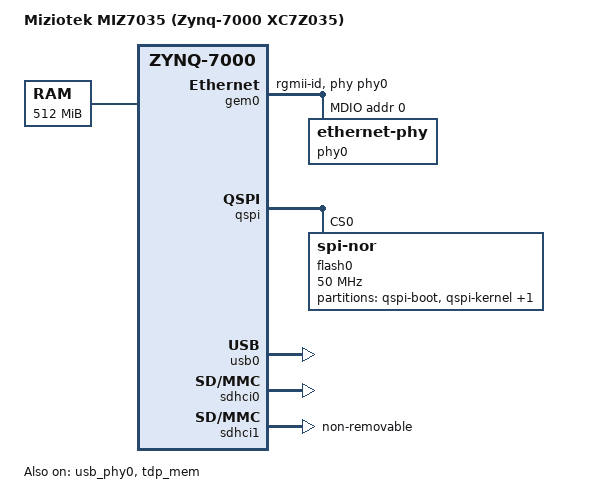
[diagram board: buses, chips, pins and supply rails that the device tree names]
// SPDX-License-Identifier: GPL-2.0
/*
 * MIZ7035 (Zynq-7000 XC7Z035) board device tree
 *
 * 从 PetaLinux 生成的 system-top.dts 迁移而来：
 *   - zynq-7000.dtsi      内核自带（PS 侧定义）
 *   - pl.dtsi             XSA 生成的 PL 节点（ddr_to_image / image_to_ddr /
 *                         switch_image / mig_7series）+ misc_clk_0
 *   - pcw.dtsi            PS 外设使能与时钟（gem0 / qspi / sdhci / uart1 / usb0 ...）
 *
 * 与 PetaLinux 版本的差异（有意为之）：
 *   1) memory 只声明 512MiB（0x0-0x1FFFFFFF）。原 PetaLinux 写的是 0x40000000
 *      (1GiB)，但 zynq-zed 同类 Zynq 板与 MIZ7035 实际 DDR 均为 512MiB，
 *      写成 1GiB 会让内核把 PL 侧/不存在的地址当普通内存分配，触发 OOM killer。
 *   2) bootargs 里 root= 交给 U-Boot/extlinux 注入，这里只保留控制台与 earlycon。
 *   3) 补上 eth0 MAC（板子固定 00:0a:35:00:1e:53）与 QSPI 分区表，
 *      与 PetaLinux 一致，便于 sf/mtd 工具按 label 访问。
 */
/dts-v1/;
#include "zynq-7000.dtsi"
#include "pl-miz7035.dtsi"
#include "pcw-miz7035.dtsi"

/ {
	model = "Miziotek MIZ7035 (Zynq-7000 XC7Z035)";
	compatible = "miziotek,miz7035", "xlnx,zynq-7000";

	aliases {
		ethernet0 = &gem0;
		i2c0 = &i2c0;
		serial0 = &uart1;
		spi0 = &qspi;
		mmc0 = &sdhci1;
		mmc1 = &sdhci0;
	};

	chosen {
		bootargs = "console=ttyPS0,115200 earlycon";
		stdout-path = "serial0:115200n8";
	};

	memory@0 {
		device_type = "memory";
		reg = <0x0 0x20000000>;
	};

	usb_phy0: phy0@e0002000 {
		compatible = "ulpi-phy";
		#phy-cells = <0>;
		reg = <0xe0002000 0x1000>;
		view-port = <0x0170>;
		drv-vbus;
	};
};

&gem0 {
	local-mac-address = [00 0a 35 00 1e 53];
	status = "okay";
	phy-mode = "rgmii-id";
	phy-handle = <&phy0>;

	mdio {
		#address-cells = <1>;
		#size-cells = <0>;

		phy0: ethernet-phy@0 {
			device_type = "ethernet-phy";
			reg = <0>;
		};
	};
};

&qspi {
	#address-cells = <1>;
	#size-cells = <0>;
	status = "okay";

	flash0: flash@0 {
		compatible = "jedec,spi-nor";
		reg = <0>;
		spi-max-frequency = <50000000>;

		partitions {
			compatible = "fixed-partitions";
			#address-cells = <1>;
			#size-cells = <1>;

			partition@0 {
				label = "qspi-boot";
				reg = <0x00000000 0x00500000>;
				read-only;
			};
			partition@500000 {
				label = "qspi-kernel";
				reg = <0x00500000 0x00a80000>;
			};
			partition@f80000 {
				label = "qspi-bootenv";
				reg = <0x00f80000 0x00020000>;
			};
		};
	};
};

&usb0 {
	phy_type = "ulpi";
	usb-reset = <&gpio0 46 0>;
	status = "okay";
};

&usb_phy0 {
	status = "okay";
};

/* SD0 = 板载 TF 卡槽；SD1 = eMMC（non-removable，根文件系统所在） */
&sdhci0 {
	status = "okay";
};

&sdhci1 {
	status = "okay";
	non-removable;
	disable-wp;
};

/*
 * tdp_mem：板级字符设备驱动（PL DDR / IP 寄存器 / 中断的窗口式访问）
 * 与 PetaLinux 的 system-user.dtsi 完全一致：
 *   reg[0] = 0x20000000 512MiB  PS DDR 用户区
 *   reg[1] = 0x80000000 1GiB    PL DDR3（MIG）
 *   reg[2] = 0x43C00000 4MiB    PL IP 寄存器
 *   IRQ0..IRQ8 = GIC 29..37（对应 xlconcat In0..In8；当前 BD 只接了 In0）
 */
&amba_pl {
	tdp_mem: tdp_mem@20000000 {
		compatible = "xlnx,tdp_mem";
		status = "okay";

		reg = <0x20000000 0x20000000>,
		      <0x80000000 0x40000000>,
		      <0x43c00000 0x00400000>;

		interrupt-parent = <&intc>;
		interrupt-names = "IRQ0", "IRQ1", "IRQ2", "IRQ3", "IRQ4",
				  "IRQ5", "IRQ6", "IRQ7", "IRQ8";
		interrupts = <0 29 4>, <0 30 4>, <0 31 4>, <0 32 4>, <0 33 4>,
			     <0 34 4>, <0 35 4>, <0 36 4>, <0 37 4>;
	};
};
